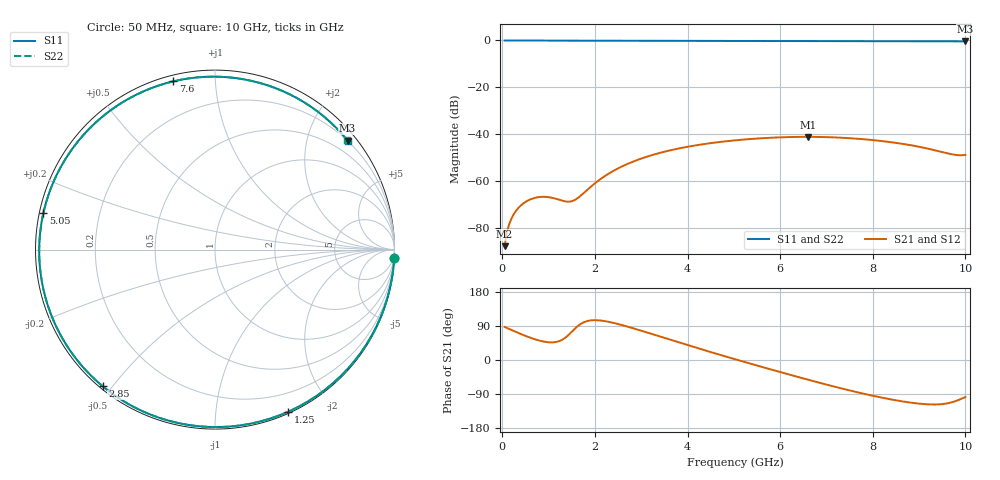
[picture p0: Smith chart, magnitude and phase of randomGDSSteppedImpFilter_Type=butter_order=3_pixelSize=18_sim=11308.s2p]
! freq	dB(S11)	phase(S11)	dB(S12)	phase(S12)
!  dB(S21)	phase(S21)	dB(S22)	phase(S22)
!S-par simulation data
#  GHz  S  DB  R 50
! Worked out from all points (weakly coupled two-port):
!   200 points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, 50 MHz to 10 GHz, reference 50 ohm
!   highest |S21| = -41.01 dB at 6.6 GHz (marker M1); lowest = -87.5 dB at 50 MHz (marker M2)
!   lowest |S11| = -0.4 dB at 10 GHz (marker M3), VSWR 44.62, Z = 9.8 + j139 ohm
!   |S11| at or under -10 dB: nowhere
!   |S22| runs from -0.4 to 0.0 dB; largest |S21 - S12| = 0
!   S11 on the Smith chart (normalised r, x): 50 MHz: 0, -41; 1.25 GHz: 0.02, -1.55; 2.85 GHz: 0.01, -0.47; 5.05 GHz: 0.01, +0.10; 7.6 GHz: 0.03, +0.78; 10 GHz: 0.20, +2.78
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0.05  -0.00 -2.8  -87.53 87.2  -87.53 87.2  -0.00 -2.8
0.1  -0.01 -5.6  -81.55 84.5  -81.55 84.5  -0.01 -5.6
0.2  -0.02 -11.1  -75.67 79.1  -75.67 79.1  -0.02 -11.1
0.3  -0.02 -16.6  -72.38 73.8  -72.38 73.8  -0.02 -16.6
0.55  -0.04 -30.1  -68.15 61.3  -68.15 61.3  -0.04 -30.1
0.9  -0.06 -48.4  -66.54 48.5  -66.54 48.5  -0.06 -48.4
1.25  -0.08 -65.6  -67.90 50.8  -67.90 50.8  -0.08 -65.6
1.5  -0.09 -77.2  -68.41 74.5  -68.41 74.5  -0.09 -77.2
1.75  -0.10 -88.1  -65.09 99.0  -65.09 99.0  -0.10 -88.1
2.25  -0.11 -108.2  -57.24 101.8  -57.24 101.8  -0.11 -108.2
2.85  -0.13 -129.4  -51.35 82.9  -51.35 82.9  -0.13 -129.4
3.4  -0.14 -146.9  -47.86 62.2  -47.86 62.2  -0.14 -146.9
4.2  -0.17 -169.7  -44.56 31.9  -44.56 31.9  -0.17 -169.7
5.05  -0.20 168.0  -42.45 1.2  -42.45 1.2  -0.20 168.1
5.8  -0.23 149.2  -41.39 -24.9  -41.39 -24.9  -0.23 149.2
6.6  -0.26 129.3  -41.01 -51.9  -41.01 -51.9  -0.26 129.3
6.7  -0.27 126.7  -41.02 -55.2  -41.02 -55.2  -0.27 126.8
7.6  -0.30 103.9  -41.72 -83.3  -41.72 -83.3  -0.30 104.0
8.35  -0.33 84.3  -43.18 -103.0  -43.18 -103.0  -0.33 84.4
9.15  -0.36 62.8  -45.85 -116.7  -45.85 -116.7  -0.36 62.8
9.75  -0.38 46.3  -48.58 -110.1  -48.58 -110.1  -0.38 46.4
10  -0.39 39.5  -48.70 -97.8  -48.70 -97.8  -0.39 39.5
